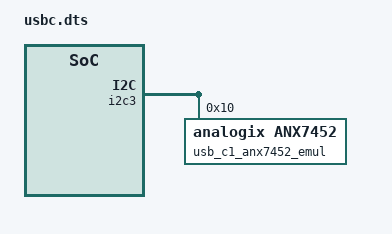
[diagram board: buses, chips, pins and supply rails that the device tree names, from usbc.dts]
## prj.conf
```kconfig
# Copyright 2023 The ChromiumOS Authors
# Use of this source code is governed by a BSD-style license that can be
# found in the LICENSE file.

CONFIG_PLATFORM_EC_USBC_RETIMER_ANX7452=y
CONFIG_LTO=n
```

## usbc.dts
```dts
/* Copyright 2023 The ChromiumOS Authors
 * Use of this source code is governed by a BSD-style license that can be
 * found in the LICENSE file.
 */

#include <dt-bindings/usb_pd_tcpm.h>

/ {
	usbc {
		port1@1 {
			compatible = "named-usbc-port";
			reg = <1>;
			usb-mux-chain-1 {
				compatible = "cros-ec,usb-mux-chain";
				usb-muxes = <&usb_c1_anx7452_emul
					&virtual_mux_c1>;
			};
		};
		port1-muxes {
			virtual_mux_c1: virtual-mux-c1 {
				compatible = "cros-ec,usbc-mux-virtual";
			};
		};
	};

};
&i2c3 {
	status = "okay";

	/delete-node/ bbretimer@42;

	usb_c1_anx7452_emul: anx7452@10 {
		compatible = "analogix,anx7452";
		reg = <0x10>;
		usb-en-pin = <&usb_c1_ls_en>;
		dp-en-pin = <&usb_c1_rt_rst_odl>;
	};
};
```

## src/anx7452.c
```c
/* Copyright 2023 The ChromiumOS Authors
 * Use of this source code is governed by a BSD-style license that can be
 * found in the LICENSE file.
 */

#include "chipset.h"
#include "common.h"
#include "console.h"
#include "driver/retimer/anx7452.h"
#include "driver/retimer/anx7452_public.h"
#include "emul/emul_anx7452.h"
#include "emul/emul_common_i2c.h"
#include "i2c.h"
#include "test/drivers/stubs.h"
#include "test/drivers/test_mocks.h"
#include "test/drivers/test_state.h"
#include "timer.h"
#include "usb_mux.h"

#include <zephyr/device.h>
#include <zephyr/devicetree.h>
#include <zephyr/drivers/emul.h>
#include <zephyr/drivers/gpio.h>
#include <zephyr/drivers/gpio/gpio_emul.h>
#include <zephyr/fff.h>
#include <zephyr/kernel.h>
#include <zephyr/ztest.h>

#define GPIO_USB_C1_USB_EN_PATH NAMED_GPIOS_GPIO_NODE(usb_c1_usb_en)
#define GPIO_USB_C1_USB_EN_PORT DT_GPIO_PIN(GPIO_USB_C1_USB_EN_PATH, gpios)
#define GPIO_USB_C1_DP_EN_PATH NAMED_GPIOS_GPIO_NODE(usb_c1_dp_en)
#define GPIO_USB_C1_DP_EN_PORT DT_GPIO_PIN(GPIO_USB_C1_DP_EN_PATH, gpios)

#define ANX7452_NODE DT_NODELABEL(usb_c1_anx7452_emul)
#define EMUL EMUL_DT_GET(ANX7452_NODE)
#define COMMON_DATA(port) emul_anx7452_get_i2c_common_data(EMUL, port)

static inline void reset_anx7452_state(void)
{
	test_set_chipset_to_s0();
	i2c_common_emul_set_write_func(COMMON_DATA(TOP_EMUL_PORT), NULL, NULL);
	i2c_common_emul_set_read_func(COMMON_DATA(TOP_EMUL_PORT), NULL, NULL);
	i2c_common_emul_set_write_fail_reg(COMMON_DATA(TOP_EMUL_PORT),
					   I2C_COMMON_EMUL_NO_FAIL_REG);
	i2c_common_emul_set_read_fail_reg(COMMON_DATA(TOP_EMUL_PORT),
					  I2C_COMMON_EMUL_NO_FAIL_REG);

	i2c_common_emul_set_write_func(COMMON_DATA(CTLTOP_EMUL_PORT), NULL,
				       NULL);
	i2c_common_emul_set_read_func(COMMON_DATA(CTLTOP_EMUL_PORT), NULL,
				      NULL);
	i2c_common_emul_set_write_fail_reg(COMMON_DATA(CTLTOP_EMUL_PORT),
					   I2C_COMMON_EMUL_NO_FAIL_REG);
	i2c_common_emul_set_read_fail_reg(COMMON_DATA(CTLTOP_EMUL_PORT),
					  I2C_COMMON_EMUL_NO_FAIL_REG);

	anx7452_emul_reset(EMUL);
}

ZTEST(anx7452, test_anx7452_init)
{
	const struct device *usb_en_gpio_dev =
		DEVICE_DT_GET(DT_GPIO_CTLR(GPIO_USB_C1_USB_EN_PATH, gpios));
	const struct device *dp_en_gpio_dev =
		DEVICE_DT_GET(DT_GPIO_CTLR(GPIO_USB_C1_DP_EN_PATH, gpios));
	const uint8_t top_reg_val = ANX7452_TOP_REG_EN |
				    ANX7452_TOP_RESERVED_BIT |
				    ANX7452_TOP_USB3_INFO;
	uint32_t start_ms;
	uint32_t end_ms;

	zassert_not_null(usb_en_gpio_dev, "Cannot get USB EN GPIO device");
	zassert_not_null(dp_en_gpio_dev, "Cannot get DP EN GPIO device");

	/* Test successful init */
	zassert_equal(
		EC_SUCCESS,
		anx7452_usb_retimer_driver.init(usb_muxes[USBC_PORT_C1].mux),
		NULL);
	zassert_equal(anx7452_emul_get_reg(EMUL, ANX7452_TOP_STATUS_REG),
		      top_reg_val, NULL);
	zassert_equal(1,
		      gpio_emul_output_get(usb_en_gpio_dev,
					   GPIO_USB_C1_USB_EN_PORT),
		      NULL);
	zassert_equal(
		0, gpio_emul_output_get(dp_en_gpio_dev, GPIO_USB_C1_DP_EN_PORT),
		NULL);

	reset_anx7452_state();
	/* Setup emulator fail on write */
	i2c_common_emul_set_write_fail_reg(COMMON_DATA(TOP_EMUL_PORT),
					   ANX7452_TOP_STATUS_REG);
	/* With reg write fail, init should fail */
	zassert_equal(
		EC_ERROR_TIMEOUT,
		anx7452_usb_retimer_driver.init(usb_muxes[USBC_PORT_C1].mux),
		NULL);
	zassert_not_equal(anx7452_emul_get_reg(EMUL, ANX7452_TOP_STATUS_REG),
			  top_reg_val, NULL);
	zassert_equal(1,
		      gpio_emul_output_get(usb_en_gpio_dev,
					   GPIO_USB_C1_USB_EN_PORT),
		      NULL);
	zassert_equal(
		0, gpio_emul_output_get(dp_en_gpio_dev, GPIO_USB_C1_DP_EN_PORT),
		NULL);

	reset_anx7452_state();
	/* Setup emulator fail on read */
	i2c_common_emul_set_read_fail_reg(COMMON_DATA(TOP_EMUL_PORT),
					  ANX7452_TOP_STATUS_REG);
	start_ms = k_uptime_get();
	/* With reg read fail, init should fail */
	zassert_equal(
		EC_ERROR_TIMEOUT,
		anx7452_usb_retimer_driver.init(usb_muxes[USBC_PORT_C1].mux),
		NULL);
	end_ms = k_uptime_get();
	/* With timeout caused by read fail, the time took should be greater
	 * than or equal to configured timeout value
	 */
	zassert_true((end_ms - start_ms) > ANX7452_I2C_WAKE_TIMEOUT_MS, NULL);
	zassert_not_equal(anx7452_emul_get_reg(EMUL, ANX7452_TOP_STATUS_REG),
			  top_reg_val, NULL);
	zassert_equal(1,
		      gpio_emul_output_get(usb_en_gpio_dev,
					   GPIO_USB_C1_USB_EN_PORT),
		      NULL);
	zassert_equal(
		0, gpio_emul_output_get(dp_en_gpio_dev, GPIO_USB_C1_DP_EN_PORT),
		NULL);

	reset_anx7452_state();
	/* Set AP to off state and wait for chipset task */
	test_set_chipset_to_g3();
	start_ms = k_uptime_get();
	/* With AP off, init should fail and pins should be unset */
	zassert_equal(
		EC_ERROR_NOT_POWERED,
		anx7452_usb_retimer_driver.init(usb_muxes[USBC_PORT_C1].mux),
		NULL);
	end_ms = k_uptime_get();
	zassert_true((end_ms - start_ms) < 30, NULL);
	zassert_not_equal(anx7452_emul_get_reg(EMUL, ANX7452_TOP_STATUS_REG),
			  top_reg_val, NULL);
	zassert_equal(0,
		      gpio_emul_output_get(usb_en_gpio_dev,
					   GPIO_USB_C1_USB_EN_PORT),
		      NULL);
	zassert_equal(
		0, gpio_emul_output_get(dp_en_gpio_dev, GPIO_USB_C1_DP_EN_PORT),
		NULL);
}

ZTEST(anx7452, test_anx7452_get)
{
	mux_state_t mux_state = 0;

	zassert_equal(EC_SUCCESS,
		      anx7452_usb_retimer_driver.get(
			      usb_muxes[USBC_PORT_C1].mux, &mux_state));

	anx7452_emul_set_reg(EMUL, ANX7452_TOP_STATUS_REG,
			     ANX7452_TOP_REG_EN | ANX7452_TOP_FLIP_INFO);
	zassert_equal(EC_SUCCESS,
		      anx7452_usb_retimer_driver.get(
			      usb_muxes[USBC_PORT_C1].mux, &mux_state));
	zassert_equal(mux_state, USB_PD_MUX_POLARITY_INVERTED);

	anx7452_emul_set_reg(EMUL, ANX7452_TOP_STATUS_REG,
			     ANX7452_TOP_REG_EN | ANX7452_TOP_DP_INFO);
	zassert_equal(EC_SUCCESS,
		      anx7452_usb_retimer_driver.get(
			      usb_muxes[USBC_PORT_C1].mux, &mux_state));
	zassert_equal(mux_state, USB_PD_MUX_DP_ENABLED);

	anx7452_emul_set_reg(EMUL, ANX7452_TOP_STATUS_REG,
			     ANX7452_TOP_REG_EN | ANX7452_TOP_TBT_INFO);
	zassert_equal(EC_SUCCESS,
		      anx7452_usb_retimer_driver.get(
			      usb_muxes[USBC_PORT_C1].mux, &mux_state));
	zassert_equal(mux_state, USB_PD_MUX_TBT_COMPAT_ENABLED);

	anx7452_emul_set_reg(EMUL, ANX7452_TOP_STATUS_REG,
			     ANX7452_TOP_REG_EN | ANX7452_TOP_USB3_INFO);
	zassert_equal(EC_SUCCESS,
		      anx7452_usb_retimer_driver.get(
			      usb_muxes[USBC_PORT_C1].mux, &mux_state));
	zassert_equal(mux_state, USB_PD_MUX_USB_ENABLED);

	anx7452_emul_set_reg(EMUL, ANX7452_TOP_STATUS_REG,
			     ANX7452_TOP_REG_EN | ANX7452_TOP_USB4_INFO);
	zassert_equal(EC_SUCCESS,
		      anx7452_usb_retimer_driver.get(
			      usb_muxes[USBC_PORT_C1].mux, &mux_state));
	zassert_equal(mux_state, USB_PD_MUX_USB4_ENABLED);

	reset_anx7452_state();
	test_set_chipset_to_g3();
	zassert_equal(EC_ERROR_NOT_POWERED,
		      anx7452_usb_retimer_driver.get(
			      usb_muxes[USBC_PORT_C1].mux, &mux_state));
	zassert_equal(mux_state, USB_PD_MUX_NONE);

	reset_anx7452_state();
	i2c_common_emul_set_read_fail_reg(COMMON_DATA(TOP_EMUL_PORT),
					  ANX7452_TOP_STATUS_REG);
	zassert_equal(EC_ERROR_INVAL,
		      anx7452_usb_retimer_driver.get(
			      usb_muxes[USBC_PORT_C1].mux, &mux_state));
}

ZTEST(anx7452, test_anx7452_set)
{
	mux_state_t mux_state = 0;
	bool ack_required;

	zassert_equal(EC_SUCCESS, anx7452_usb_retimer_driver.set(
					  usb_muxes[USBC_PORT_C1].mux,
					  mux_state, &ack_required));
	zassert_equal(ack_required, false);

	zassert_equal(anx7452_emul_get_reg(EMUL, ANX7452_CTLTOP_CFG0_REG), 0);
	zassert_equal(EC_SUCCESS,
		      anx7452_usb_retimer_driver.set(
			      usb_muxes[USBC_PORT_C1].mux,
			      USB_PD_MUX_POLARITY_INVERTED, &ack_required));
	zassert_equal(anx7452_emul_get_reg(EMUL, ANX7452_CTLTOP_CFG0_REG),
		      ANX7452_CTLTOP_CFG0_FLIP_EN);

	zassert_equal(EC_SUCCESS,
		      anx7452_usb_retimer_driver.set(
			      usb_muxes[USBC_PORT_C1].mux,
			      USB_PD_MUX_USB_ENABLED, &ack_required));
	zassert_equal(anx7452_emul_get_reg(EMUL, ANX7452_CTLTOP_CFG0_REG),
		      ANX7452_CTLTOP_CFG0_USB3_EN);

	zassert_equal(anx7452_emul_get_reg(EMUL, ANX7452_CTLTOP_CFG1_REG), 0);
	zassert_equal(EC_SUCCESS,
		      anx7452_usb_retimer_driver.set(
			      usb_muxes[USBC_PORT_C1].mux,
			      USB_PD_MUX_DP_ENABLED, &ack_required));
	zassert_equal(anx7452_emul_get_reg(EMUL, ANX7452_CTLTOP_CFG1_REG),
		      ANX7452_CTLTOP_CFG1_DP_EN);

	zassert_equal(anx7452_emul_get_reg(EMUL, ANX7452_CTLTOP_CFG2_REG), 0);
	zassert_equal(EC_SUCCESS,
		      anx7452_usb_retimer_driver.set(
			      usb_muxes[USBC_PORT_C1].mux,
			      USB_PD_MUX_USB4_ENABLED, &ack_required));
	zassert_equal(anx7452_emul_get_reg(EMUL, ANX7452_CTLTOP_CFG2_REG),
		      ANX7452_CTLTOP_CFG2_USB4_EN);

	zassert_equal(EC_SUCCESS,
		      anx7452_usb_retimer_driver.set(
			      usb_muxes[USBC_PORT_C1].mux,
			      USB_PD_MUX_TBT_COMPAT_ENABLED, &ack_required));
	zassert_equal(anx7452_emul_get_reg(EMUL, ANX7452_CTLTOP_CFG2_REG),
		      ANX7452_CTLTOP_CFG2_TBT_EN);

	i2c_common_emul_set_read_fail_reg(COMMON_DATA(CTLTOP_EMUL_PORT),
					  I2C_COMMON_EMUL_NO_FAIL_REG);
	i2c_common_emul_set_read_fail_reg(COMMON_DATA(CTLTOP_EMUL_PORT),
					  ANX7452_CTLTOP_CFG0_REG);
	zassert_equal(EC_ERROR_INVAL, anx7452_usb_retimer_driver.set(
					      usb_muxes[USBC_PORT_C1].mux,
					      mux_state, &ack_required));

	i2c_common_emul_set_read_fail_reg(COMMON_DATA(CTLTOP_EMUL_PORT),
					  I2C_COMMON_EMUL_NO_FAIL_REG);
	i2c_common_emul_set_read_fail_reg(COMMON_DATA(CTLTOP_EMUL_PORT),
					  ANX7452_CTLTOP_CFG1_REG);
	zassert_equal(EC_ERROR_INVAL, anx7452_usb_retimer_driver.set(
					      usb_muxes[USBC_PORT_C1].mux,
					      mux_state, &ack_required));

	i2c_common_emul_set_read_fail_reg(COMMON_DATA(CTLTOP_EMUL_PORT),
					  I2C_COMMON_EMUL_NO_FAIL_REG);
	i2c_common_emul_set_read_fail_reg(COMMON_DATA(CTLTOP_EMUL_PORT),
					  ANX7452_CTLTOP_CFG2_REG);
	zassert_equal(EC_ERROR_INVAL, anx7452_usb_retimer_driver.set(
					      usb_muxes[USBC_PORT_C1].mux,
					      mux_state, &ack_required));

	i2c_common_emul_set_read_fail_reg(COMMON_DATA(CTLTOP_EMUL_PORT),
					  I2C_COMMON_EMUL_NO_FAIL_REG);
	i2c_common_emul_set_write_fail_reg(COMMON_DATA(CTLTOP_EMUL_PORT),
					   ANX7452_CTLTOP_CFG0_REG);
	zassert_equal(EC_ERROR_INVAL,
		      anx7452_usb_retimer_driver.set(
			      usb_muxes[USBC_PORT_C1].mux,
			      USB_PD_MUX_POLARITY_INVERTED, &ack_required));

	i2c_common_emul_set_write_fail_reg(COMMON_DATA(CTLTOP_EMUL_PORT),
					   I2C_COMMON_EMUL_NO_FAIL_REG);
	i2c_common_emul_set_write_fail_reg(COMMON_DATA(CTLTOP_EMUL_PORT),
					   ANX7452_CTLTOP_CFG1_REG);
	zassert_equal(EC_ERROR_INVAL,
		      anx7452_usb_retimer_driver.set(
			      usb_muxes[USBC_PORT_C1].mux,
			      USB_PD_MUX_DP_ENABLED, &ack_required));

	i2c_common_emul_set_write_fail_reg(COMMON_DATA(CTLTOP_EMUL_PORT),
					   I2C_COMMON_EMUL_NO_FAIL_REG);
	i2c_common_emul_set_write_fail_reg(COMMON_DATA(CTLTOP_EMUL_PORT),
					   ANX7452_CTLTOP_CFG2_REG);
	zassert_equal(EC_ERROR_INVAL,
		      anx7452_usb_retimer_driver.set(
			      usb_muxes[USBC_PORT_C1].mux,
			      USB_PD_MUX_USB4_ENABLED, &ack_required));

	reset_anx7452_state();
	test_set_chipset_to_g3();
	zassert_equal(EC_ERROR_NOT_POWERED, anx7452_usb_retimer_driver.set(
						    usb_muxes[USBC_PORT_C1].mux,
						    mux_state, &ack_required));
}

static void anx7452_before(void *state)
{
	ARG_UNUSED(state);
	reset_anx7452_state();
}

static void anx7452_after(void *state)
{
	ARG_UNUSED(state);
	reset_anx7452_state();
}

ZTEST_SUITE(anx7452, drivers_predicate_post_main, NULL, anx7452_before,
	    anx7452_after, NULL);
```
